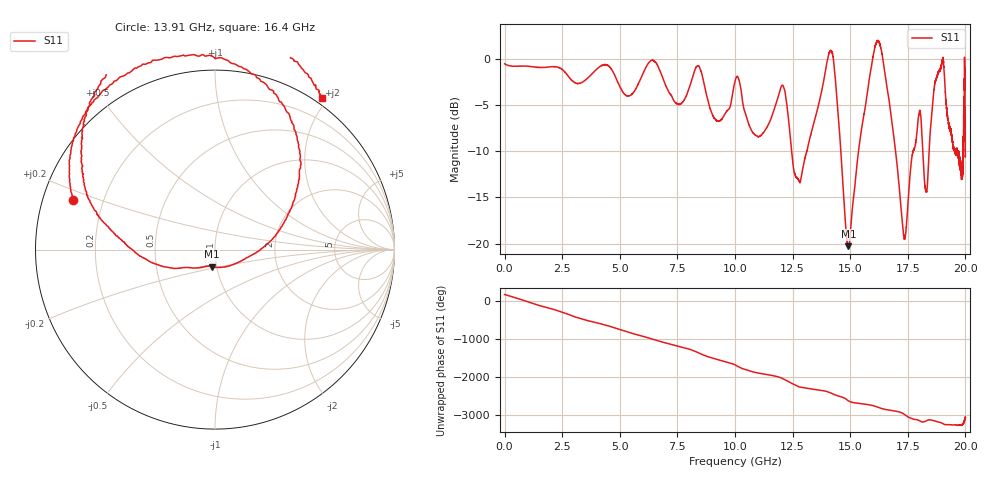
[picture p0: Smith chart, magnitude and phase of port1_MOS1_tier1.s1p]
! Created with skrf 1.8.0 (http://scikit-rf.org).
# GHz S RI R 50.0
!freq ReS11 ImS11
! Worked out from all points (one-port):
!   10001 points, 1 MHz to 20 GHz, reference 50 ohm
!   lowest |S11| = -20.3 dB at 14.92 GHz (marker M1), VSWR 1.21, Z = 47.3 - j9.08 ohm
!   |S11| at or under -10 dB: 12.46 GHz to 13.12 GHz (658.9 MHz wide, 5.15 % of centre); 14.59 GHz to 15.36 GHz (769 MHz wide, 5.13 % of centre); 16.97 GHz to 17.73 GHz (762.7 MHz wide, 4.4 % of centre) (the widest 3 of 28)
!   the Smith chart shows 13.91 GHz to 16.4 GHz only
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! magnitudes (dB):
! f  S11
! 1 MHz  -0.5
! 2.501 GHz  -1.2
! 5.001 GHz  -3.0
! 6.439 GHz  -0.2
! 7.501 GHz  -4.9
! 8.397 GHz  -0.8
! 9.331 GHz  -6.7
! 10 GHz  -2.4
! 11.01 GHz  -8.5
! 12.09 GHz  -2.9
! 12.5 GHz  -11.1
! 12.85 GHz  -13.1
! 14.17 GHz  0.9
! 14.35 GHz  -2.0
! 14.92 GHz  -20.3
! 15 GHz  -19.1
! 15.46 GHz  -8.1
! 16.18 GHz  1.9
! 16.73 GHz  -5.2
! 17.31 GHz  -18.9
! 17.5 GHz  -15.9
! 18 GHz  -5.8
! 18.31 GHz  -14.4
! 18.64 GHz  -3.3
! 18.96 GHz  -0.7
! 19.52 GHz  -9.8
! 19.8 GHz  -12.1
! 20 GHz  -10.5
